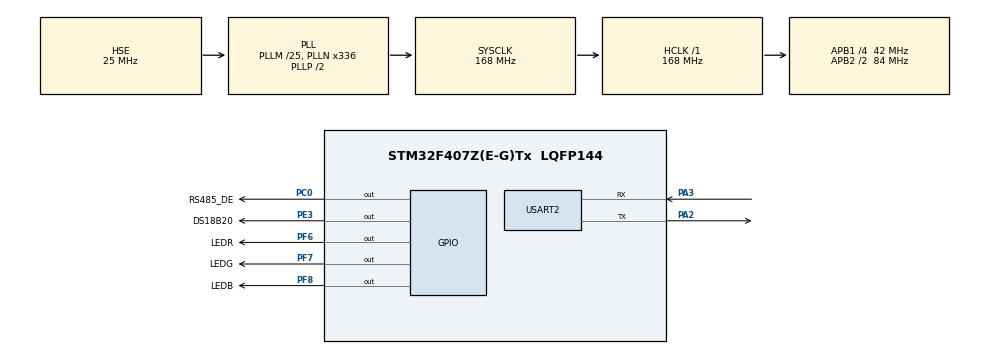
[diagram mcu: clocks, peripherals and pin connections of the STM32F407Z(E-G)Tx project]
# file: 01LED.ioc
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Dma.Request0=USART2_RX
Dma.Request1=USART2_TX
Dma.USART2_RX.0.Direction=DMA_PERIPH_TO_MEMORY
Dma.USART2_RX.0.FIFOMode=DMA_FIFOMODE_DISABLE
Dma.USART2_RX.0.Instance=DMA1_Stream5
Dma.USART2_RX.0.MemDataAlignment=DMA_MDATAALIGN_BYTE
Dma.USART2_RX.0.MemInc=DMA_MINC_ENABLE
Dma.USART2_RX.0.Mode=DMA_NORMAL
Dma.USART2_RX.0.PeriphDataAlignment=DMA_PDATAALIGN_BYTE
Dma.USART2_RX.0.PeriphInc=DMA_PINC_DISABLE
Dma.USART2_RX.0.Priority=DMA_PRIORITY_LOW
Dma.USART2_TX.1.Direction=DMA_MEMORY_TO_PERIPH
Dma.USART2_TX.1.FIFOMode=DMA_FIFOMODE_DISABLE
Dma.USART2_TX.1.Instance=DMA1_Stream6
Dma.USART2_TX.1.MemDataAlignment=DMA_MDATAALIGN_BYTE
Dma.USART2_TX.1.MemInc=DMA_MINC_ENABLE
Dma.USART2_TX.1.Mode=DMA_NORMAL
Dma.USART2_TX.1.PeriphDataAlignment=DMA_PDATAALIGN_BYTE
Dma.USART2_TX.1.PeriphInc=DMA_PINC_DISABLE
Dma.USART2_TX.1.Priority=DMA_PRIORITY_LOW
Mcu.Family=STM32F4
Mcu.Name=STM32F407Z(E-G)Tx
Mcu.Package=LQFP144
NVIC.DMA1_Stream5_IRQn=true\:0\:0\:false\:false\:true\:false\:true\:true
NVIC.DMA1_Stream6_IRQn=true\:0\:0\:false\:false\:true\:false\:true\:true
NVIC.PriorityGroup=NVIC_PRIORITYGROUP_4
NVIC.USART2_IRQn=true\:0\:0\:false\:false\:true\:true\:true\:true
PA13.Mode=Serial_Wire
PA13.Signal=SYS_JTMS-SWDIO
PA14.Mode=Serial_Wire
PA14.Signal=SYS_JTCK-SWCLK
PA2.GPIO_Speed=GPIO_SPEED_FREQ_MEDIUM
PA2.Mode=Asynchronous
PA2.Signal=USART2_TX
PA3.GPIO_Speed=GPIO_SPEED_FREQ_MEDIUM
PA3.Mode=Asynchronous
PA3.Signal=USART2_RX
PC0.GPIO_Label=RS485_DE
PC0.Signal=GPIO_Output
PE3.GPIO_Label=DS18B20
PE3.GPIO_ModeDefaultOutputPP=GPIO_MODE_OUTPUT_OD
PE3.GPIO_PuPd=GPIO_PULLUP
PE3.GPIO_Speed=GPIO_SPEED_FREQ_HIGH
PE3.PinState=GPIO_PIN_SET
PE3.Signal=GPIO_Output
PF6.GPIO_Label=LEDR
PF6.Signal=GPIO_Output
PF7.GPIO_Label=LEDG
PF7.Signal=GPIO_Output
PF8.GPIO_Label=LEDB
PF8.Signal=GPIO_Output
PH0-OSC_IN.Mode=HSE-External-Oscillator
PH0-OSC_IN.Signal=RCC_OSC_IN
PH1-OSC_OUT.Mode=HSE-External-Oscillator
PH1-OSC_OUT.Signal=RCC_OSC_OUT
ProjectManager.HeapSize=0x200
ProjectManager.StackSize=0x400
ProjectManager.TargetToolchain=CMake
RCC.48MHZClocksFreq_Value=84000000
RCC.AHBFreq_Value=168000000
RCC.APB1CLKDivider=RCC_HCLK_DIV4
RCC.APB1Freq_Value=42000000
RCC.APB1TimFreq_Value=84000000
RCC.APB2CLKDivider=RCC_HCLK_DIV2
RCC.APB2Freq_Value=84000000
RCC.APB2TimFreq_Value=168000000
RCC.CortexFreq_Value=168000000
RCC.HCLKFreq_Value=168000000
RCC.HSE_VALUE=25000000
RCC.HSI_VALUE=16000000
RCC.LSE_VALUE=32768
RCC.PLLM=25
RCC.PLLN=336
RCC.PLLSourceVirtual=RCC_PLLSOURCE_HSE
RCC.SYSCLKFreq_VALUE=168000000
RCC.SYSCLKSource=RCC_SYSCLKSOURCE_PLLCLK
RCC.VCOOutputFreq_Value=336000000
USART2.VirtualMode=VM_ASYNC
board=custom

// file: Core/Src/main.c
/* USER CODE BEGIN Header */
/**
  ******************************************************************************
  * @file           : main.c
  * @brief          : Main program body
  ******************************************************************************
  * @attention
  *
  * Copyright (c) 2026 STMicroelectronics.
  * All rights reserved.
  *
  * This software is licensed under terms that can be found in the LICENSE file
  * in the root directory of this software component.
  * If no LICENSE file comes with this software, it is provided AS-IS.
  *
  ******************************************************************************
  */
/* USER CODE END Header */
#include "main.h"
#include "dma.h"
#include "usart.h"
#include "gpio.h"

/* USER CODE BEGIN Includes */
#include "rs485.h"
#include "ds18b20.h"
#include "modbus.h"
#include <string.h>
/* USER CODE END Includes */

/* USER CODE BEGIN PV */
/* LED 规律闪烁的状态 */
static uint32_t g_led_tick = 0U;
static uint8_t  g_led_step = 0U;
/* USER CODE END PV */

void SystemClock_Config(void);

/* USER CODE BEGIN 0 */
/* 板上 LED 的有效电平：高电平点亮填 1，低电平点亮填 0。
   接反了不影响通信，只是读写线圈的效果整体反相。 */
#define LED_ACTIVE_HIGH   1U

static void app_led_write(GPIO_TypeDef *port, uint16_t pin, uint8_t on)
{
#if (LED_ACTIVE_HIGH != 0U)
  HAL_GPIO_WritePin(port, pin, (on != 0U) ? GPIO_PIN_SET : GPIO_PIN_RESET);
#else
  HAL_GPIO_WritePin(port, pin, (on != 0U) ? GPIO_PIN_RESET : GPIO_PIN_SET);
#endif
}

/**
  * @brief 把传感器状态刷进输入寄存器（3x 区），主站用功能码 04 读
  */
static void app_update_inputs(void)
{
  int32_t mdeg = DS18B20_GetMilliDeg();
  int32_t t100;

  /* 毫摄氏度 -> 0.01 ℃，四舍五入；有符号整数除法向 0 截断，负数单独处理 */
  if (mdeg >= 0)
  {
    t100 = (mdeg + 5) / 10;
  }
  else
  {
    t100 = (mdeg - 5) / 10;
  }

  MODBUS_SetInputReg(MB_IR_TEMP_X100, (uint16_t)(int16_t)t100);
  MODBUS_SetInputReg(MB_IR_PRESENT,   (uint16_t)DS18B20_IsPresent());
  MODBUS_SetInputReg(MB_IR_OK_CNT,    (uint16_t)(DS18B20_GetOkCount() & 0xFFFFU));
  MODBUS_SetInputReg(MB_IR_ERR_CNT,   (uint16_t)(DS18B20_GetErrCount() & 0xFFFFU));
  MODBUS_SetInputReg(MB_IR_LAST_ERR,  (uint16_t)DS18B20_GetLastError());
  MODBUS_SetInputReg(MB_IR_UPTIME_S,  (uint16_t)((HAL_GetTick() / 1000U) & 0xFFFFU));
}

/**
  * @brief 按保持寄存器里的模式/周期驱动 LED，并把实际状态回写到线圈
  * @note  模式 0 = 手动，线圈直接控制；1 = 同步闪烁；2 = 流水灯
  */
static void app_led_pattern(void)
{
  uint16_t period = MODBUS_GetHoldingReg(MB_HR_BLINK_MS);
  uint16_t mode   = MODBUS_GetHoldingReg(MB_HR_MODE);
  uint32_t now    = HAL_GetTick();
  uint8_t  r;
  uint8_t  g;
  uint8_t  b;

  if (period < 50U)                 /* 周期太短视觉上就是常亮，也没有意义 */
  {
    period = 50U;
  }

  if (mode == MB_MODE_BLINK)
  {
    if ((now - g_led_tick) >= period)
    {
      g_led_tick = now;
      g_led_step ^= 1U;
    }
    r = g_led_step;
    g = g_led_step;
    b = g_led_step;
  }
  else if (mode == MB_MODE_FLOW)
  {
    if ((now - g_led_tick) >= period)
    {
      g_led_tick = now;
      g_led_step = (uint8_t)((g_led_step + 1U) % 3U);
    }
    r = (g_led_step == 0U) ? 1U : 0U;
    g = (g_led_step == 1U) ? 1U : 0U;
    b = (g_led_step == 2U) ? 1U : 0U;
  }
  else                              /* MB_MODE_MANUAL */
  {
    r = MODBUS_GetCoil(MB_COIL_LEDR);
    g = MODBUS_GetCoil(MB_COIL_LEDG);
    b = MODBUS_GetCoil(MB_COIL_LEDB);
  }

  app_led_write(LEDR_GPIO_Port, LEDR_Pin, r);
  app_led_write(LEDG_GPIO_Port, LEDG_Pin, g);
  app_led_write(LEDB_GPIO_Port, LEDB_Pin, b);

  /* 自动模式下把实际状态回写，主站读线圈/离散输入时看到的是真实状态 */
  MODBUS_SetCoil(MB_COIL_LEDR, r);
  MODBUS_SetCoil(MB_COIL_LEDG, g);
  MODBUS_SetCoil(MB_COIL_LEDB, b);

  MODBUS_SetDiscreteInput(MB_DI_LEDR, r);
  MODBUS_SetDiscreteInput(MB_DI_LEDG, g);
  MODBUS_SetDiscreteInput(MB_DI_LEDB, b);
}
/* USER CODE END 0 */

int main(void)
{

  /* MCU Configuration--------------------------------------------------------*/

  /* Reset of all peripherals, Initializes the Flash interface and the Systick. */
  HAL_Init();

  /* Configure the system clock */
  SystemClock_Config();

  /* Initialize all configured peripherals */
  MX_GPIO_Init();
  MX_DMA_Init();
  MX_USART2_UART_Init();
  /* USER CODE BEGIN 2 */
  /* Modbus 先初始化，保证第一帧到来时数据区已经就绪 */
  MODBUS_Init();
  /* 把 MODBUS_OnFrame 作为收帧回调交给 RS485 驱动（中断里只拼字节） */
  RS485_Init(MODBUS_OnFrame);
  /* DS18B20 初始化：返回 0 说明 PE3 上没探测到器件（断线 / 没接上拉） */
  (void)DS18B20_Init();
  /* USER CODE END 2 */

  /* Infinite loop */
  while (1)
  {

    /* USER CODE BEGIN 3 */

    /* 1) 传感器：非阻塞状态机，1 秒一轮、每轮等 750 ms 转换 */
    DS18B20_Task();

    /* 2) 把最新温度/计数刷进输入寄存器（3x 区），主站用 04 读 */
    app_update_inputs();

    /* 3) 按保持寄存器里的模式驱动 LED，并回写线圈状态 */
    app_led_pattern();

    /* 4) Modbus 从机：攒够一帧就解析并应答（发送在这里做，不在中断里做） */
    MODBUS_Task();

  }
  /* USER CODE END 3 */
}

void SystemClock_Config(void)
{
  RCC_OscInitTypeDef RCC_OscInitStruct = {0};
  RCC_ClkInitTypeDef RCC_ClkInitStruct = {0};

  /** Configure the main internal regulator output voltage
  */
  __HAL_RCC_PWR_CLK_ENABLE();
  __HAL_PWR_VOLTAGESCALING_CONFIG(PWR_REGULATOR_VOLTAGE_SCALE1);

  /** Initializes the RCC Oscillators according to the specified parameters
  * in the RCC_OscInitTypeDef structure.
  */
  RCC_OscInitStruct.OscillatorType = RCC_OSCILLATORTYPE_HSE;
  RCC_OscInitStruct.HSEState = RCC_HSE_ON;
  RCC_OscInitStruct.PLL.PLLState = RCC_PLL_ON;
  RCC_OscInitStruct.PLL.PLLSource = RCC_PLLSOURCE_HSE;
  RCC_OscInitStruct.PLL.PLLM = 25;
  RCC_OscInitStruct.PLL.PLLN = 336;
  RCC_OscInitStruct.PLL.PLLP = RCC_PLLP_DIV2;
  RCC_OscInitStruct.PLL.PLLQ = 4;
  if (HAL_RCC_OscConfig(&RCC_OscInitStruct) != HAL_OK)
  {
    Error_Handler();
  }

  /** Initializes the CPU, AHB and APB buses clocks
  */
  RCC_ClkInitStruct.ClockType = RCC_CLOCKTYPE_HCLK|RCC_CLOCKTYPE_SYSCLK
                              |RCC_CLOCKTYPE_PCLK1|RCC_CLOCKTYPE_PCLK2;
  RCC_ClkInitStruct.SYSCLKSource = RCC_SYSCLKSOURCE_PLLCLK;
  RCC_ClkInitStruct.AHBCLKDivider = RCC_SYSCLK_DIV1;
  RCC_ClkInitStruct.APB1CLKDivider = RCC_HCLK_DIV4;
  RCC_ClkInitStruct.APB2CLKDivider = RCC_HCLK_DIV2;

  if (HAL_RCC_ClockConfig(&RCC_ClkInitStruct, FLASH_LATENCY_5) != HAL_OK)
  {
    Error_Handler();
  }
}

void Error_Handler(void)
{
  __disable_irq();
  while (1)
  {
  }
}
